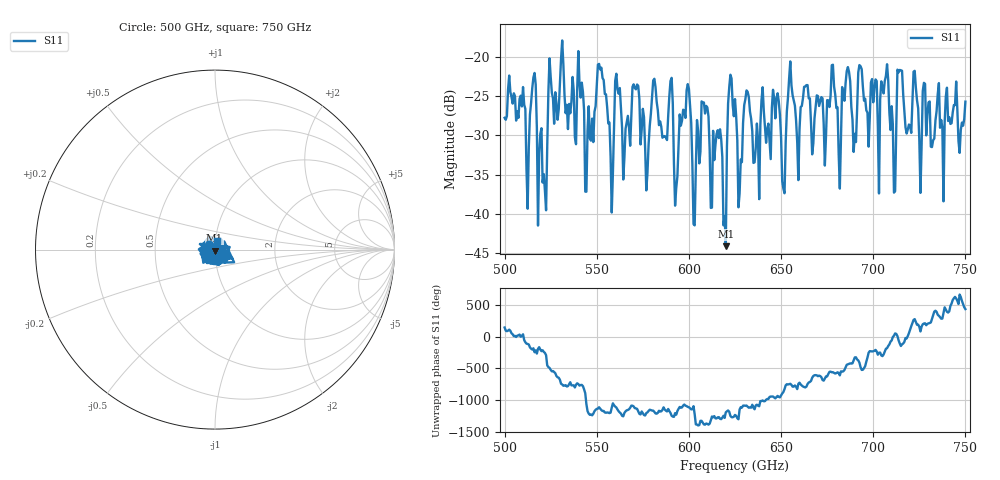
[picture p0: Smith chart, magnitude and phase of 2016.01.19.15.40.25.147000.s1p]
!Created with skrf (http://scikit-rf.org).
# GHz S RI R 50.0
!freq ReS11 ImS11
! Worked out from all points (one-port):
!   401 points, 500 GHz to 750 GHz, reference 50 ohm
!   lowest |S11| = -44.1 dB at 620 GHz (marker M1), VSWR 1.01, Z = 49.8 - j0.573 ohm
!   |S11| at or under -10 dB: start of sweep to end of sweep
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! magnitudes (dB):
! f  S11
! 500 GHz  -27.8
! 513.1 GHz  -31.5
! 515.6 GHz  -22.6
! 521.9 GHz  -37.0
! 525 GHz  -22.5
! 531.2 GHz  -17.9
! 545 GHz  -29.4
! 551.2 GHz  -20.9
! 557.5 GHz  -32.7
! 562.5 GHz  -24.0
! 577.5 GHz  -34.8
! 590 GHz  -23.1
! 593.8 GHz  -35.2
! 599.4 GHz  -23.5
! 602.5 GHz  -41.3
! 608.1 GHz  -25.8
! 620 GHz  -44.1
! 621.9 GHz  -23.8
! 625 GHz  -25.4
! 627.5 GHz  -37.4
! 631.2 GHz  -24.3
! 636.9 GHz  -28.5
! 646.9 GHz  -27.8
! 651.2 GHz  -36.8
! 656.2 GHz  -24.9
! 687.5 GHz  -23.1
! 718.8 GHz  -29.2
! 750 GHz  -25.7
